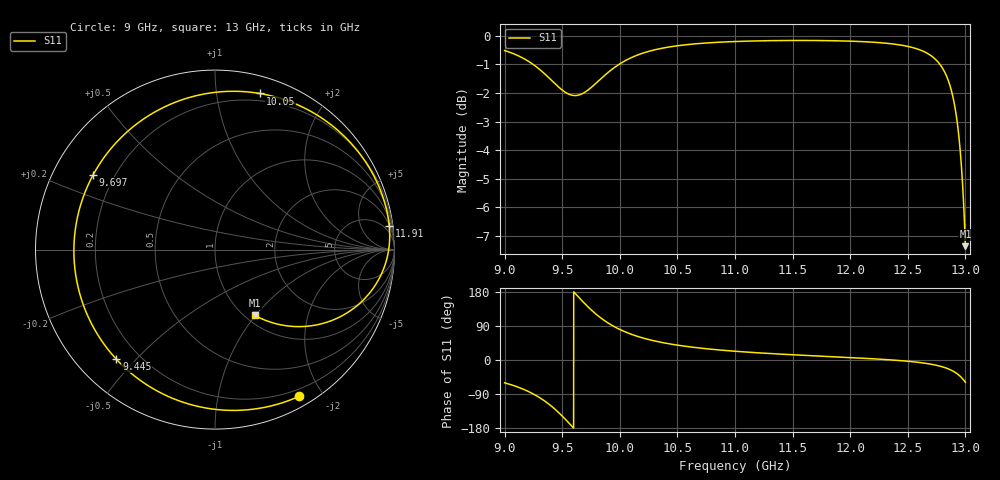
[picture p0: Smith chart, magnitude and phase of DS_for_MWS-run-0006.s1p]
! TOUCHSTONE file generated by CST DESIGN STUDIO
! Date and time: Tue Feb  4 14:03:04 2025
! Project name: C:\Work\MatlabApps\UnitCellOptimizationMatlab\CST\unitcell.cst
! Tree item: Tasks\Sweep1\SPara1\S-Parameters
! Header version: 2024
! Port assignment regex: !\s*Touchstone port\s*([0-9]+)\s*=\s*(CST MWS port|CST DES external port|CST DES block port)\s*(.+)\s* \(\"(.*)\"\)(\s*mode\s*([0-9]+))?.*
! Touchstone port assignment:
! Touchstone port 1 = CST DES external port 1 ("")
# GHz S MA R 50
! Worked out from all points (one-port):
!   4001 points, 9 GHz to 13 GHz, reference 50 ohm
!   lowest |S11| = -7.4 dB at 13 GHz (marker M1), VSWR 2.50, Z = 55.2 - j49.6 ohm
!   |S11| at or under -10 dB: nowhere
!   S11 on the Smith chart (normalised r, x): 9 GHz: 0.12, -1.72; 9.445 GHz: 0.12, -0.44; 9.697 GHz: 0.12, +0.28; 10.05 GHz: 0.14, +1.32; 11.91 GHz: 2, +15; 13 GHz: 1.10, -0.99
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9  0.9421 -60.2
9.136  0.919 -73.9
9.271  0.884 -93.3
9.362  0.8527 -111.3
9.445  0.8218 -131.9
9.5  0.8036 -147.8
9.551  0.7915 -163.9
9.599  0.7863 -179.7
9.647  0.788 164.4
9.697  0.7967 148.4
9.766  0.8168 128.3
9.836  0.8413 110.8
9.911  0.867 95.2
10  0.8931 80.6
10.049  0.905 73.9
10.144  0.9237 63.3
10.248  0.9388 54.2
10.5  0.9606 39.2
11  0.9771 23.1
11.5  0.9812 13.8
11.913  0.9797 7.7
12  0.9786 6.4
12.5  0.9581 -3.3
12.705  0.9219 -11.3
12.831  0.855 -21.0
12.916  0.7362 -33.6
12.959  0.6157 -44.1
13  0.4285 -58.8
